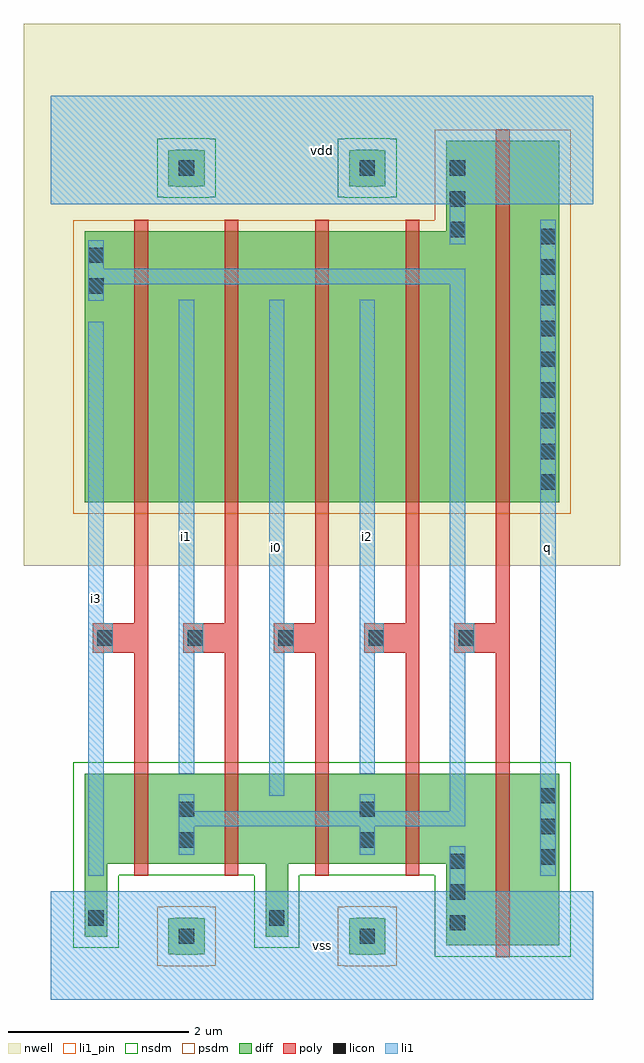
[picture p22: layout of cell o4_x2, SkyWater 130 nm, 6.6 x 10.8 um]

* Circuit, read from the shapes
.subckt o4_x2 i0 i1 i2 i3 q vdd vss
XM1 n1 i3 vss VSUBS sky130_fd_pr__nfet_01v8 w=1 l=0.15
XM2 vss i1 n1 VSUBS sky130_fd_pr__nfet_01v8 w=1 l=0.15
XM3 n1 i0 vss VSUBS sky130_fd_pr__nfet_01v8 w=1 l=0.15
XM4 vss i2 n1 VSUBS sky130_fd_pr__nfet_01v8 w=1 l=0.15
XM5 q n1 vss VSUBS sky130_fd_pr__nfet_01v8 w=1.9 l=0.15
XM6 n2 i3 n1 n3 sky130_fd_pr__pfet_01v8 w=3 l=0.15
XM7 n4 i1 n2 n3 sky130_fd_pr__pfet_01v8 w=3 l=0.15
XM8 n5 i0 n4 n3 sky130_fd_pr__pfet_01v8 w=3 l=0.15
XM9 vdd i2 n5 n3 sky130_fd_pr__pfet_01v8 w=3 l=0.15
XM10 q n1 vdd n3 sky130_fd_pr__pfet_01v8 w=4 l=0.15
.ends

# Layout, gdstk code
import gdstk
lib = gdstk.Library(unit=1e-6, precision=1e-09)
def R(c, l, rs):  # rectangles x0, y0, x1, y1
    for r in rs: c.add(gdstk.rectangle(r[:2], r[2:], *l))
def A(c, l, x, y, w, h, nx, ny, dx, dy):  # array of equal rectangles
    R(c, l, [(x+i*dx, y+j*dy, x+i*dx+w, y+j*dy+h) for i in range(nx) for j in range(ny)])
def P(c, l, *ps):  # polygons
    for p in ps: c.add(gdstk.Polygon(p, *l))
nwell = (64, 20)
diff = (65, 20)
poly = (66, 20)
licon = (66, 44)
li1_pin = (67, 16)
li1 = (67, 20)
nsdm = (93, 44)
psdm = (94, 20)

o4_x2 = lib.new_cell('o4_x2')
R(o4_x2, nwell, [(-0.3,4.8,6.3,10.8)])
P(o4_x2, diff, [(1.375,0.495),(1.375,0.5),(1.3,0.5),(1.3,0.9),(1.375,0.9),(1.375,0.905),(1.625,0.905),(1.625,0.9),(1.7,0.9),(1.7,0.5),(1.625,0.5),(1.625,0.495)],
  [(3.375,0.495),(3.375,0.5),(3.3,0.5),(3.3,0.9),(3.375,0.9),(3.375,0.905),(3.625,0.905),(3.625,0.9),(3.7,0.9),(3.7,0.5),(3.625,0.5),(3.625,0.495)],
  [(4.375,0.6),(4.375,1.5),(2.625,1.5),(2.625,0.695),(2.375,0.695),(2.375,1.5),(0.625,1.5),(0.625,0.695),(0.375,0.695),(0.375,2.5),(5.625,2.5),(5.625,0.6)],
  [(1.375,8.995),(1.375,9),(1.3,9),(1.3,9.4),(1.375,9.4),(1.375,9.405),(1.625,9.405),(1.625,9.4),(1.7,9.4),(1.7,9),(1.625,9),(1.625,8.995)],
  [(3.375,8.995),(3.375,9),(3.3,9),(3.3,9.4),(3.375,9.4),(3.375,9.405),(3.625,9.405),(3.625,9.4),(3.7,9.4),(3.7,9),(3.625,9),(3.625,8.995)],
  [(0.375,5.5),(0.375,8.5),(4.375,8.5),(4.375,9.5),(5.625,9.5),(5.625,5.5)])
P(o4_x2, poly, [(0.925,1.37),(0.925,3.835),(0.465,3.835),(0.465,4.165),(0.925,4.165),(0.925,8.63),(1.075,8.63),(1.075,1.37)],
  [(1.925,1.37),(1.925,3.835),(1.465,3.835),(1.465,4.165),(1.925,4.165),(1.925,8.63),(2.075,8.63),(2.075,1.37)],
  [(2.925,1.37),(2.925,3.835),(2.465,3.835),(2.465,4.165),(2.925,4.165),(2.925,8.63),(3.075,8.63),(3.075,1.37)],
  [(3.925,1.37),(3.925,3.835),(3.465,3.835),(3.465,4.165),(3.925,4.165),(3.925,8.63),(4.075,8.63),(4.075,1.37)],
  [(4.925,0.47),(4.925,3.835),(4.465,3.835),(4.465,4.165),(4.925,4.165),(4.925,9.63),(5.075,9.63),(5.075,0.47)])
A(o4_x2, licon, 4.415, 0.765, 0.17, 0.17, 1, 3, 0, 0.34)
A(o4_x2, licon, 5.415, 1.49, 0.17, 0.17, 1, 3, 0, 0.34)
A(o4_x2, licon, 0.515, 3.915, 0.17, 0.17, 5, 1, 1, 0)
A(o4_x2, licon, 5.415, 5.64, 0.17, 0.17, 1, 9, 0, 0.34)
A(o4_x2, licon, 4.415, 8.435, 0.17, 0.17, 1, 3, 0, 0.34)
R(o4_x2, licon, [(1.415,0.615,1.585,0.785), (3.415,0.615,3.585,0.785), (0.415,0.815,0.585,0.985), (2.415,0.815,2.585,0.985), (1.415,1.68,1.585,1.85), (3.415,1.68,3.585,1.85), (1.415,2.02,1.585,2.19), (3.415,2.02,3.585,2.19), (0.415,7.81,0.585,7.98), (0.415,8.15,0.585,8.32), (1.415,9.115,1.585,9.285), (3.415,9.115,3.585,9.285)])
R(o4_x2, li1_pin, [(0,0,6,1.2), (0.415,1.37,0.585,7.5), (5.415,1.37,5.585,8.63), (2.415,2.255,2.585,7.745), (1.415,2.5,1.585,7.745), (3.415,2.5,3.585,7.745), (0,8.8,6,10)])
R(o4_x2, li1, [(5.415,1.37,5.585,8.63)])
P(o4_x2, li1, [(0,0),(0,1.2),(4.415,1.2),(4.415,1.695),(4.585,1.695),(4.585,1.2),(6,1.2),(6,0)],
  [(0.415,1.37),(0.415,7.5),(0.585,7.5),(0.585,4.165),(0.685,4.165),(0.685,3.835),(0.585,3.835),(0.585,1.37)],
  [(1.415,2.5),(1.415,7.745),(1.585,7.745),(1.585,4.165),(1.685,4.165),(1.685,3.835),(1.585,3.835),(1.585,2.5)],
  [(2.415,2.255),(2.415,7.745),(2.585,7.745),(2.585,4.165),(2.685,4.165),(2.685,3.835),(2.585,3.835),(2.585,2.255)],
  [(3.415,2.5),(3.415,7.745),(3.585,7.745),(3.585,4.165),(3.685,4.165),(3.685,3.835),(3.585,3.835),(3.585,2.5)],
  [(1.415,1.6),(1.415,2.27),(1.585,2.27),(1.585,2.085),(3.415,2.085),(3.415,2.27),(3.585,2.27),(3.585,2.085),(4.415,2.085),(4.415,7.915),(0.585,7.915),(0.585,7.73),(0.415,7.73),(0.415,8.4),(0.585,8.4),(0.585,8.085),(4.585,8.085),(4.585,4.165),(4.685,4.165),(4.685,3.835),(4.585,3.835),(4.585,1.915),(3.585,1.915),(3.585,1.6),(3.415,1.6),(3.415,1.915),(1.585,1.915),(1.585,1.6)],
  [(4.415,8.355),(4.415,8.8),(0,8.8),(0,10),(6,10),(6,8.8),(4.585,8.8),(4.585,8.355)])
P(o4_x2, nsdm, [(4.25,0.475),(4.25,1.375),(2.75,1.375),(2.75,0.57),(2.25,0.57),(2.25,1.375),(0.75,1.375),(0.75,0.57),(0.25,0.57),(0.25,2.625),(5.75,2.625),(5.75,0.475)],
  [(1.25,8.87),(1.25,8.875),(1.175,8.875),(1.175,9.525),(1.25,9.525),(1.25,9.53),(1.75,9.53),(1.75,9.525),(1.825,9.525),(1.825,8.875),(1.75,8.875),(1.75,8.87)],
  [(3.25,8.87),(3.25,8.875),(3.175,8.875),(3.175,9.525),(3.25,9.525),(3.25,9.53),(3.75,9.53),(3.75,9.525),(3.825,9.525),(3.825,8.875),(3.75,8.875),(3.75,8.87)])
P(o4_x2, psdm, [(1.25,0.37),(1.25,0.375),(1.175,0.375),(1.175,1.025),(1.25,1.025),(1.25,1.03),(1.75,1.03),(1.75,1.025),(1.825,1.025),(1.825,0.375),(1.75,0.375),(1.75,0.37)],
  [(3.25,0.37),(3.25,0.375),(3.175,0.375),(3.175,1.025),(3.25,1.025),(3.25,1.03),(3.75,1.03),(3.75,1.025),(3.825,1.025),(3.825,0.375),(3.75,0.375),(3.75,0.37)],
  [(0.25,5.375),(0.25,8.625),(4.25,8.625),(4.25,9.625),(5.75,9.625),(5.75,5.375)])
o4_x2.add(gdstk.Label('vss', (3,0.6), layer=67, texttype=16))
o4_x2.add(gdstk.Label('q', (5.5,5), layer=67, texttype=16))
o4_x2.add(gdstk.Label('vdd', (3,9.4), layer=67, texttype=16))
o4_x2.add(gdstk.Label('i0', (2.5,5), layer=67, texttype=16))
o4_x2.add(gdstk.Label('i1', (1.5,5.123), layer=67, texttype=16))
o4_x2.add(gdstk.Label('i2', (3.5,5.123), layer=67, texttype=16))
o4_x2.add(gdstk.Label('i3', (0.5,4.435), layer=67, texttype=16))
o4_x2.add(gdstk.Label('vss', (3,0.6), layer=67, texttype=16))
o4_x2.add(gdstk.Label('q', (5.5,5), layer=67, texttype=16))
o4_x2.add(gdstk.Label('vdd', (3,9.4), layer=67, texttype=16))
o4_x2.add(gdstk.Label('i0', (2.5,5), layer=67, texttype=16))
o4_x2.add(gdstk.Label('i1', (1.5,5.123), layer=67, texttype=16))
o4_x2.add(gdstk.Label('i2', (3.5,5.123), layer=67, texttype=16))
o4_x2.add(gdstk.Label('i3', (0.5,4.435), layer=67, texttype=16))

lib.write_gds('o4_x2.gds')
